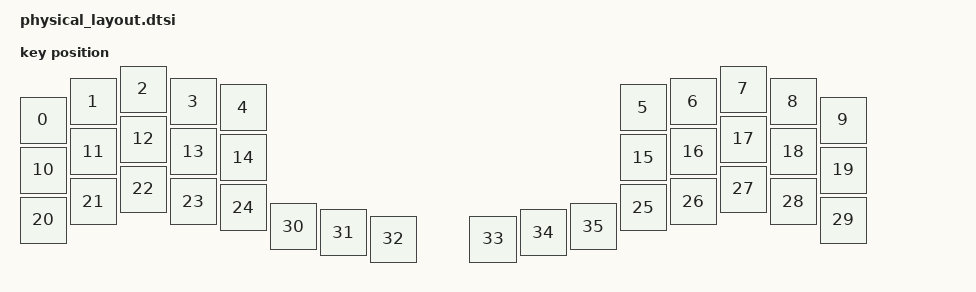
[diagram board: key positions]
// Not sure if this file has the correct name

#include <physical_layouts.dtsi>

/ {
    physical_layout0: physical_layout_0 {
        compatible = "zmk,physical-layout";
        display-name = "5 Column";

        kscan = <&kscan0>;
        transform = <&default_transform>;

        keys  //                     w   h    x    y     rot    rx    ry
            = <&key_physical_attrs 100 100    0   62       0     0     0>
            , <&key_physical_attrs 100 100  100   25       0     0     0>
            , <&key_physical_attrs 100 100  200    0       0     0     0>
            , <&key_physical_attrs 100 100  300   25       0     0     0>
            , <&key_physical_attrs 100 100  400   37       0     0     0>
            , <&key_physical_attrs 100 100 1200   37       0     0     0>
            , <&key_physical_attrs 100 100 1300   25       0     0     0>
            , <&key_physical_attrs 100 100 1400    0       0     0     0>
            , <&key_physical_attrs 100 100 1500   25       0     0     0>
            , <&key_physical_attrs 100 100 1600   62       0     0     0>
            , <&key_physical_attrs 100 100    0  162       0     0     0>
            , <&key_physical_attrs 100 100  100  125       0     0     0>
            , <&key_physical_attrs 100 100  200  100       0     0     0>
            , <&key_physical_attrs 100 100  300  125       0     0     0>
            , <&key_physical_attrs 100 100  400  137       0     0     0>
            , <&key_physical_attrs 100 100 1200  137       0     0     0>
            , <&key_physical_attrs 100 100 1300  125       0     0     0>
            , <&key_physical_attrs 100 100 1400  100       0     0     0>
            , <&key_physical_attrs 100 100 1500  125       0     0     0>
            , <&key_physical_attrs 100 100 1600  162       0     0     0>
            , <&key_physical_attrs 100 100    0  262       0     0     0>
            , <&key_physical_attrs 100 100  100  225       0     0     0>
            , <&key_physical_attrs 100 100  200  200       0     0     0>
            , <&key_physical_attrs 100 100  300  225       0     0     0>
            , <&key_physical_attrs 100 100  400  237       0     0     0>
            , <&key_physical_attrs 100 100 1200  237       0     0     0>
            , <&key_physical_attrs 100 100 1300  225       0     0     0>
            , <&key_physical_attrs 100 100 1400  200       0     0     0>
            , <&key_physical_attrs 100 100 1500  225       0     0     0>
            , <&key_physical_attrs 100 100 1600  262       0     0     0>
            , <&key_physical_attrs 100 100  500  275       0     0     0>
            , <&key_physical_attrs 100 100  600  287       0     0     0>
            , <&key_physical_attrs 100 100  700  300       0     0     0>
            , <&key_physical_attrs 100 100  900  300       0     0     0>
            , <&key_physical_attrs 100 100 1000  287       0     0     0>
            , <&key_physical_attrs 100 100 1100  275       0     0     0>
            ;
    };
};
